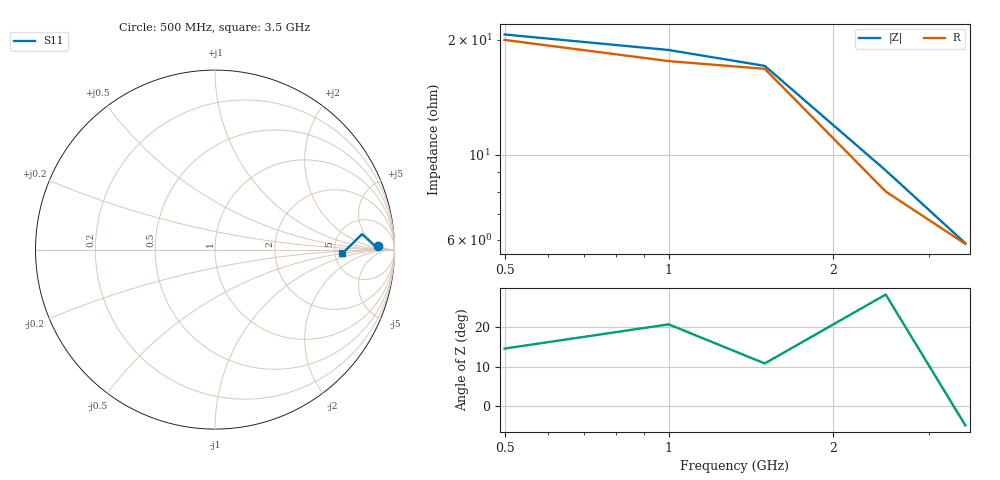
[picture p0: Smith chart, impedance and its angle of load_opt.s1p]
#  Hz  Z  RI  R  1
! optimized zl for cgh40025
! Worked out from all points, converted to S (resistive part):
!   5 points, 500 MHz to 3.5 GHz, reference 1 ohm
!   read as one part to ground: R = 20 ohm at 500 MHz
5e8  20 5.2
1e9  17.6 6.66
1.5e9  16.8 3.2
2.5e9  8.02 4.32
3.5e9  5.85 -0.51
